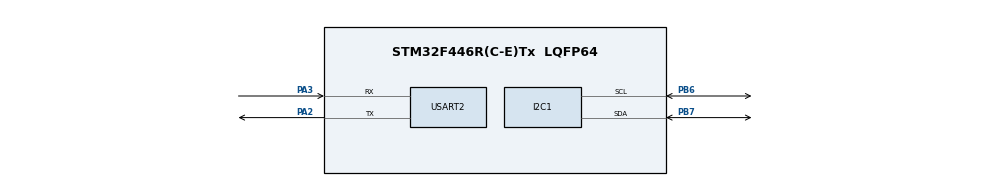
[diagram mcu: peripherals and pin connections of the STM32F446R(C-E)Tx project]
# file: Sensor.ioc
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I2C1.I2C_Mode=I2C_Fast
Mcu.Family=STM32F4
Mcu.Name=STM32F446R(C-E)Tx
Mcu.Package=LQFP64
NVIC.PriorityGroup=NVIC_PRIORITYGROUP_4
NVIC.USART2_IRQn=true\:0\:0\:false\:false\:true\:true
PA2.Mode=Asynchronous
PA2.Signal=USART2_TX
PA3.Mode=Asynchronous
PA3.Signal=USART2_RX
PB6.Mode=I2C
PB6.Signal=I2C1_SCL
PB7.Mode=I2C
PB7.Signal=I2C1_SDA
ProjectManager.HeapSize=0x200
ProjectManager.StackSize=0x400
ProjectManager.TargetToolchain=MDK-ARM V5
RCC.CortexFreq_Value=16000000
RCC.USBFreq_Value=96000000
RCC.VCOOutputFreq_Value=192000000
USART2.VirtualMode=VM_ASYNC
board=Sensor

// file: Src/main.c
/**
  ******************************************************************************
  * File Name          : main.c
  * Description        : Main program body
  ******************************************************************************
  ** This notice applies to any and all portions of this file
  * that are not between comment pairs USER CODE BEGIN and
  * USER CODE END. Other portions of this file, whether
  * inserted by the user or by software development tools
  * are owned by their respective copyright owners.
  *
  * COPYRIGHT(c) 2018 STMicroelectronics
  *
  * Redistribution and use in source and binary forms, with or without modification,
  * are permitted provided that the following conditions are met:
  *   1. Redistributions of source code must retain the above copyright notice,
  *      this list of conditions and the following disclaimer.
  *   2. Redistributions in binary form must reproduce the above copyright notice,
  *      this list of conditions and the following disclaimer in the documentation
  *      and/or other materials provided with the distribution.
  *   3. Neither the name of STMicroelectronics nor the names of its contributors
  *      may be used to endorse or promote products derived from this software
  *      without specific prior written permission.
  *
  * THIS SOFTWARE IS PROVIDED BY THE COPYRIGHT HOLDERS AND CONTRIBUTORS "AS IS"
  * AND ANY EXPRESS OR IMPLIED WARRANTIES, INCLUDING, BUT NOT LIMITED TO, THE
  * IMPLIED WARRANTIES OF MERCHANTABILITY AND FITNESS FOR A PARTICULAR PURPOSE ARE
  * DISCLAIMED. IN NO EVENT SHALL THE COPYRIGHT HOLDER OR CONTRIBUTORS BE LIABLE
  * FOR ANY DIRECT, INDIRECT, INCIDENTAL, SPECIAL, EXEMPLARY, OR CONSEQUENTIAL
  * DAMAGES (INCLUDING, BUT NOT LIMITED TO, PROCUREMENT OF SUBSTITUTE GOODS OR
  * SERVICES; LOSS OF USE, DATA, OR PROFITS; OR BUSINESS INTERRUPTION) HOWEVER
  * CAUSED AND ON ANY THEORY OF LIABILITY, WHETHER IN CONTRACT, STRICT LIABILITY,
  * OR TORT (INCLUDING NEGLIGENCE OR OTHERWISE) ARISING IN ANY WAY OUT OF THE USE
  * OF THIS SOFTWARE, EVEN IF ADVISED OF THE POSSIBILITY OF SUCH DAMAGE.
  *
  ******************************************************************************
  */

#include "main.h"
#include "stm32f4xx_hal.h"

/* USER CODE BEGIN Includes */
#include "string.h"
#include "math.h"
#include "stdlib.h"

/* USER CODE END Includes */

I2C_HandleTypeDef hi2c1;

UART_HandleTypeDef huart2;

/* USER CODE BEGIN PV */
/* Private variables ---------------------------------------------------------*/

// OD CZUJNIKA

#define TSL2561_ADDR 					(0x39 << 1)
#define TSL2561_CMD 					0x80
#define TSL2561_CMD_CLEAR 		0xC0
#define	TSL2561_REG_CONTROL 	0x00
#define	TSL2561_REG_TIMING 		0x01
#define	TSL2561_REG_THRESH_L 	0x02
#define	TSL2561_REG_THRESH_H 	0x04
#define	TSL2561_REG_INTCTL 		0x06
#define	TSL2561_REG_ID 				0x0A
#define	TSL2561_REG_DATA_0 		0x0C
#define	TSL2561_REG_DATA_1 		0x0E
#define RESULTS_SIZE					10

uint8_t wlacz_czujnik[] = {TSL2561_CMD | TSL2561_REG_CONTROL, 0x03};
uint8_t wylacz_czujnik[] = {TSL2561_CMD | TSL2561_REG_CONTROL, 0x00};

uint8_t ch0 = TSL2561_CMD | TSL2561_REG_DATA_0;
uint8_t ch1 = TSL2561_CMD | TSL2561_REG_DATA_1;

uint8_t ch0Raw[2], ch1Raw[2], resultsCounter;
uint16_t channel0, channel1, lux, speed, currentLux, currentIR,
	luxResults[RESULTS_SIZE], infraredResults[RESULTS_SIZE];

volatile uint8_t resultsWriteIndex, resultsReadIndex;
uint32_t tickstart;

float luxMean, infraredMean, luxSD, infraredSD;

// OD USARTA

#define RX_BUFFER_SIZE 				1024
#define TX_BUFFER_SIZE 				1024
#define QUEUE_SIZE						1024
#define COMMAND_BUFFER_SIZE 	7
#define PARAM_SIZE 						4
#define LUX_MESSAGE						"LUX\t Current: XXXXXX, Mean: XXXXXX.XX, SD: XXXXXX.XX\n"
#define IR_MESSAGE						" IR\t Current: XXXXXX, Mean: XXXXXX.XX, SD: XXXXXX.XX\n"

uint8_t rxBuffer[RX_BUFFER_SIZE], txBuffer[TX_BUFFER_SIZE];
uint16_t commandQueue[QUEUE_SIZE], paramQueue[QUEUE_SIZE];
uint8_t commandBuffer[COMMAND_BUFFER_SIZE];
uint8_t param[PARAM_SIZE];
uint8_t command, res, isOn, isLuxTransmitOn, isIRTransmitOn;

volatile uint16_t counter, writeIndex, readIndex, commandCounter, i, j,
	commandWriteIndex, commandReadIndex, txWriteIndex, stopTx, txReadIndex, txCounter;

char temp;

/* USER CODE END PV */

void SystemClock_Config(void);
static void MX_GPIO_Init(void);
static void MX_I2C1_Init(void);
static void MX_USART2_UART_Init(void);

/* USER CODE BEGIN PFP */
/* Private function prototypes -----------------------------------------------*/

// OD CZUJNIKA

void powerUpSensor(void);
void powerDownSensor(void);
void changeInterval(uint16_t interval);
unsigned int getLux(void);
extern unsigned int CalculateLux(unsigned int iGain, unsigned int tInt, unsigned int ch0,
unsigned int ch1, int iType);
void getMean(uint16_t start, uint16_t stop, uint16_t n);
void getSD(uint16_t start, uint16_t stop, uint16_t n);

// OD USARTA

char RxBufferGetChar(void);
void TxBufferPutChar(uint8_t character);
void grabCommand(void);
void processCommand(void);
uint8_t checkCommand(void);
void addToCommandQueue(void);
uint16_t digit_to_int(char d);
void executeCommand(void);
void HAL_UART_RxCpltCallback(UART_HandleTypeDef *huart);
void addToTx(uint8_t word[]);

/* USER CODE END PFP */

int main(void)
{

  /* MCU Configuration----------------------------------------------------------*/

  /* Reset of all peripherals, Initializes the Flash interface and the Systick. */
  HAL_Init();

  /* Configure the system clock */
  SystemClock_Config();

  /* Initialize all configured peripherals */
  MX_GPIO_Init();
  MX_I2C1_Init();
  MX_USART2_UART_Init();

  /* USER CODE BEGIN 2 */
	tickstart = HAL_GetTick();
	speed = 2000;

	__HAL_UART_ENABLE_IT(&huart2, UART_IT_RXNE);
	__HAL_UART_ENABLE_IT(&huart2, UART_IT_TC);
	HAL_UART_Receive_IT(&huart2, &rxBuffer[writeIndex], 1);

  /* USER CODE END 2 */

  /* Infinite loop */
  while (1)
  {

  /* USER CODE BEGIN 3 */

		if(isOn == 1) {

			if(HAL_GetTick() - tickstart >= speed) {

			luxResults[resultsWriteIndex] = getLux();
			currentLux = luxResults[resultsWriteIndex];
			infraredResults[resultsWriteIndex] = channel1;
			currentIR = infraredResults[resultsWriteIndex];

			if (resultsCounter < RESULTS_SIZE) {
				getMean(0, resultsWriteIndex, resultsWriteIndex);
				getSD(0, resultsWriteIndex, resultsWriteIndex);
			} else {
				getMean(0, RESULTS_SIZE, RESULTS_SIZE);
				getSD(0, RESULTS_SIZE, RESULTS_SIZE);
			}

			resultsWriteIndex++;
			resultsCounter++;
			if (resultsWriteIndex > RESULTS_SIZE) resultsWriteIndex = 0;

			// LUX NA TERMINAL

			if(isLuxTransmitOn) {
				char temp[strlen(LUX_MESSAGE)];
				sprintf(temp, "LUX Current: %7i, Mean: %9.2f, SD: %9.2f\n", currentLux, luxMean, luxSD);
				addToTx((uint8_t*)temp);
			}

			// IR NA TERMINAL

			if(isIRTransmitOn) {
				char temp[strlen(IR_MESSAGE)];
				sprintf(temp, " IR Current: %7i, Mean: %9.2f, SD: %9.2f\n", currentIR, infraredMean, infraredSD);
				addToTx((uint8_t*)temp);
			}

			tickstart = HAL_GetTick();

			}

		}

		if(counter > 0) {

			temp = RxBufferGetChar();

			if(temp == 'Y') {
				grabCommand();
				processCommand();
				if(checkCommand()) addToCommandQueue();
			}
		}

		if (commandCounter > 0) executeCommand();

  }
  /* USER CODE END 3 */

}

/** System Clock Configuration
*/
void SystemClock_Config(void)
{

  RCC_OscInitTypeDef RCC_OscInitStruct;
  RCC_ClkInitTypeDef RCC_ClkInitStruct;

    /**Configure the main internal regulator output voltage
    */
  __HAL_RCC_PWR_CLK_ENABLE();

  __HAL_PWR_VOLTAGESCALING_CONFIG(PWR_REGULATOR_VOLTAGE_SCALE3);

    /**Initializes the CPU, AHB and APB busses clocks
    */
  RCC_OscInitStruct.OscillatorType = RCC_OSCILLATORTYPE_HSI;
  RCC_OscInitStruct.HSIState = RCC_HSI_ON;
  RCC_OscInitStruct.HSICalibrationValue = 16;
  RCC_OscInitStruct.PLL.PLLState = RCC_PLL_NONE;
  if (HAL_RCC_OscConfig(&RCC_OscInitStruct) != HAL_OK)
  {
    _Error_Handler(__FILE__, __LINE__);
  }

    /**Initializes the CPU, AHB and APB busses clocks
    */
  RCC_ClkInitStruct.ClockType = RCC_CLOCKTYPE_HCLK|RCC_CLOCKTYPE_SYSCLK
                              |RCC_CLOCKTYPE_PCLK1|RCC_CLOCKTYPE_PCLK2;
  RCC_ClkInitStruct.SYSCLKSource = RCC_SYSCLKSOURCE_HSI;
  RCC_ClkInitStruct.AHBCLKDivider = RCC_SYSCLK_DIV1;
  RCC_ClkInitStruct.APB1CLKDivider = RCC_HCLK_DIV1;
  RCC_ClkInitStruct.APB2CLKDivider = RCC_HCLK_DIV1;

  if (HAL_RCC_ClockConfig(&RCC_ClkInitStruct, FLASH_LATENCY_0) != HAL_OK)
  {
    _Error_Handler(__FILE__, __LINE__);
  }

    /**Configure the Systick interrupt time
    */
  HAL_SYSTICK_Config(HAL_RCC_GetHCLKFreq()/1000);

    /**Configure the Systick
    */
  HAL_SYSTICK_CLKSourceConfig(SYSTICK_CLKSOURCE_HCLK);

  /* SysTick_IRQn interrupt configuration */
  HAL_NVIC_SetPriority(SysTick_IRQn, 0, 0);
}

/* I2C1 init function */
static void MX_I2C1_Init(void)
{

  hi2c1.Instance = I2C1;
  hi2c1.Init.ClockSpeed = 400000;
  hi2c1.Init.DutyCycle = I2C_DUTYCYCLE_2;
  hi2c1.Init.OwnAddress1 = 0;
  hi2c1.Init.AddressingMode = I2C_ADDRESSINGMODE_7BIT;
  hi2c1.Init.DualAddressMode = I2C_DUALADDRESS_DISABLE;
  hi2c1.Init.OwnAddress2 = 0;
  hi2c1.Init.GeneralCallMode = I2C_GENERALCALL_DISABLE;
  hi2c1.Init.NoStretchMode = I2C_NOSTRETCH_DISABLE;
  if (HAL_I2C_Init(&hi2c1) != HAL_OK)
  {
    _Error_Handler(__FILE__, __LINE__);
  }

}

/* USART2 init function */
static void MX_USART2_UART_Init(void)
{

  huart2.Instance = USART2;
  huart2.Init.BaudRate = 115200;
  huart2.Init.WordLength = UART_WORDLENGTH_8B;
  huart2.Init.StopBits = UART_STOPBITS_1;
  huart2.Init.Parity = UART_PARITY_NONE;
  huart2.Init.Mode = UART_MODE_TX_RX;
  huart2.Init.HwFlowCtl = UART_HWCONTROL_NONE;
  huart2.Init.OverSampling = UART_OVERSAMPLING_16;
  if (HAL_UART_Init(&huart2) != HAL_OK)
  {
    _Error_Handler(__FILE__, __LINE__);
  }

}

/** Pinout Configuration
*/
static void MX_GPIO_Init(void)
{

  /* GPIO Ports Clock Enable */
  __HAL_RCC_GPIOA_CLK_ENABLE();
  __HAL_RCC_GPIOB_CLK_ENABLE();

}

/* USER CODE BEGIN 4 */

// OD CZUJNIKA

void powerUpSensor(void) {
	HAL_I2C_Master_Transmit(&hi2c1, TSL2561_ADDR, wlacz_czujnik, 2, 100);
}

void powerDownSensor(void) {
	HAL_I2C_Master_Transmit(&hi2c1, TSL2561_ADDR, wylacz_czujnik, 2, 100);
}

unsigned int getLux(void) {
	HAL_I2C_Master_Transmit(&hi2c1, TSL2561_ADDR, &ch0, 1, 100);
	HAL_I2C_Master_Receive(&hi2c1, TSL2561_ADDR, ch0Raw, 2, 100);

	channel0 = ch0Raw[1] * 256 + ch0Raw[0];

	HAL_I2C_Master_Transmit(&hi2c1, TSL2561_ADDR, &ch1, 1, 100);
	HAL_I2C_Master_Receive(&hi2c1, TSL2561_ADDR, ch1Raw, 2, 100);

	channel1 = ch1Raw[1] * 256 + ch1Raw[0];

	lux = CalculateLux(0, 2, channel0, channel1, 0);
	return lux;
}

void changeInterval(uint16_t interval) {
	speed = interval;
}

void getMean(uint16_t start, uint16_t stop, uint16_t n) {
	uint16_t i;
	float luxResult = 0;
	float infraredResult = 0;

	for(i = start; i < stop; i++) {
		luxResult += luxResults[i];
		infraredResult += infraredResults[i];
	}

	luxMean = luxResult / n;
	infraredMean = infraredResult / n;
}

void getSD(uint16_t start, uint16_t stop, uint16_t n) {

	uint16_t i;
	float luxResult = 0;
	float infraredResult = 0;

	for(i = start; i < stop; i++) {
		luxResult += pow((luxResults[i] - luxMean),2);
		infraredResult += pow((infraredResults[i] - infraredMean),2);
	}

	luxSD = sqrt(luxResult / n);
	infraredSD = sqrt(infraredResult / n);
}

// OD USARTA

void HAL_UART_RxCpltCallback(UART_HandleTypeDef *huart) {

	writeIndex++;
	counter++;
	if(writeIndex >= RX_BUFFER_SIZE) writeIndex = 0;

	HAL_UART_Receive_IT(&huart2, &rxBuffer[writeIndex],1);
}

void HAL_UART_TxCpltCallback(UART_HandleTypeDef *huart) {

	if(txCounter > 0) {
		HAL_UART_Transmit_IT(&huart2, &txBuffer[txReadIndex], 1);

		txReadIndex++;
		if(txReadIndex >= TX_BUFFER_SIZE) txReadIndex = 0;

		__disable_irq;
		txCounter--;
		__enable_irq;

	} else if (txCounter == 0) {
		stopTx = 0;
	}
}

char RxBufferGetChar(void) {

	char tmp;

	tmp = rxBuffer[readIndex];

	readIndex++;

	if (readIndex >= RX_BUFFER_SIZE) readIndex = 0;

	__disable_irq;
	counter--;
	__enable_irq;

	return tmp;
}

void TxBufferPutChar(uint8_t character) {

	txBuffer[txWriteIndex] = character;
	txWriteIndex++;

	txCounter++;

	if(txWriteIndex >= TX_BUFFER_SIZE) txWriteIndex = 0;
}

void grabCommand(void) {
	for(i = 0; i < COMMAND_BUFFER_SIZE; i++) {
		j = (readIndex + RX_BUFFER_SIZE - COMMAND_BUFFER_SIZE + i) % RX_BUFFER_SIZE;
		commandBuffer[i] = rxBuffer[j];
	}
}

void processCommand(void) {
	if(commandBuffer[1] == 'X') command = commandBuffer[0];
	for(i = 0; i < PARAM_SIZE; i++) param[i] = commandBuffer[i+2];
}

uint16_t digit_to_int(char d)
{
 char str[2];

 str[0] = d;
 str[1] = '\0';
 return (uint16_t) strtol(str, NULL, 10);
}

uint8_t checkCommand(void) {

	res = 0;

	if(digit_to_int(command) > 0 && digit_to_int(command) < 6) {
		for(i = 0; i < PARAM_SIZE; i++) {
			if(param[i] >= 48 && param[i] <= 57) res++;
		}
	}

	return res == 4 ? 1 : 0;
}

void addToCommandQueue(void) {

	commandQueue[commandWriteIndex] = digit_to_int(command);
	paramQueue[commandWriteIndex] = digit_to_int(param[0]) * 1000 + digit_to_int(param[1]) * 100
		+ digit_to_int(param[2]) * 10 + digit_to_int(param[3]);

	commandWriteIndex++;

	if(commandWriteIndex >= QUEUE_SIZE) commandWriteIndex = 0;
	commandCounter++;

}

void addToTx(uint8_t word[]) {

	for (i = 0; i < strlen((char*)word); i++) {
		TxBufferPutChar(word[i]);
	}

	if(txCounter > 0 && stopTx == 0) {

			HAL_UART_Transmit_IT(&huart2, &txBuffer[txReadIndex], 1);
			stopTx = 1;
			txReadIndex++;
			if(txReadIndex >= TX_BUFFER_SIZE) txReadIndex = 0;
			txCounter--;
		}

}

void executeCommand(void) {

	uint8_t cmd = commandQueue[commandReadIndex];

	switch(cmd) {
		case 1: // TURN ON / OFF
			if(isOn == 0) { isOn = 1; 	powerUpSensor(); addToTx((uint8_t*)"Czujnik wlaczony\n"); }
			else if (isOn == 1) { isOn = 0; powerDownSensor(); addToTx((uint8_t*)"Czujnik wylaczony\n");}
			break;
		case 2: // TURN ON / OFF - LUX
			if(isLuxTransmitOn == 0) { isLuxTransmitOn = 1; }
			else if (isLuxTransmitOn == 1) { isLuxTransmitOn = 0; }
			break;
		case 3: // TURN ON / OFF - IR
			if(isIRTransmitOn == 0) { isIRTransmitOn = 1; }
			else if (isIRTransmitOn == 1) { isIRTransmitOn = 0; }
			break;
		case 4: // CHANGE SPEED
			if(paramQueue[commandReadIndex] > 0) { speed = paramQueue[commandReadIndex]; }
			break;
		case 5: // SENSOR REGISTER ACCESS
			if(paramQueue[commandReadIndex] >= 0 && paramQueue[commandReadIndex] <= 15) {
				uint8_t reg, command = TSL2561_CMD | paramQueue[commandReadIndex], temp[4];
				HAL_I2C_Master_Transmit(&hi2c1, TSL2561_ADDR, &command, 1, 100);
				HAL_I2C_Master_Receive(&hi2c1, TSL2561_ADDR, &reg, 1, 100);
				sprintf((char*)temp, "0x%02x", reg);
				addToTx(temp);
			}
			break;
	}

	commandReadIndex++;
	if(commandReadIndex >= QUEUE_SIZE) commandReadIndex = 0;
	commandCounter--;

}

/* USER CODE END 4 */

void _Error_Handler(char * file, int line)
{
  while(1)
  {
  }
}

/************************ (C) COPYRIGHT STMicroelectronics *****END OF FILE****/
